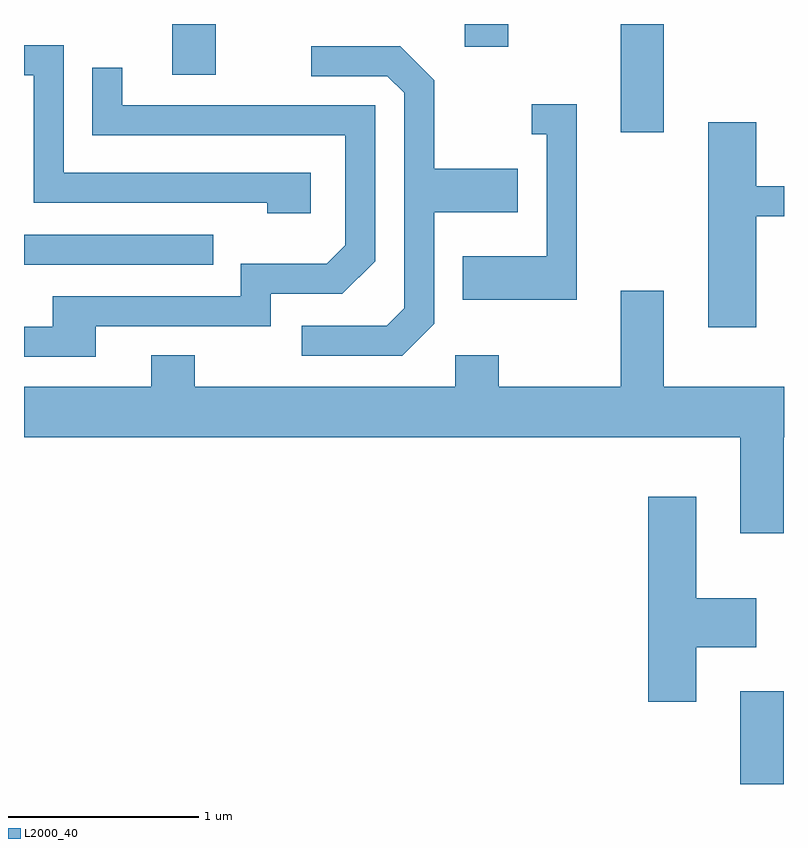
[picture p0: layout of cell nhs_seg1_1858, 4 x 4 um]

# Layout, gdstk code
import gdstk
lib = gdstk.Library(unit=1e-6, precision=1e-09)
def R(c, l, rs):  # rectangles x0, y0, x1, y1
    for r in rs: c.add(gdstk.rectangle(r[:2], r[2:], *l))
def P(c, l, *ps):  # polygons
    for p in ps: c.add(gdstk.Polygon(p, *l))
L2000_40 = (2000, 40)

nhs_seg1_1858 = lib.new_cell('nhs_seg1_1858')
R(nhs_seg1_1858, L2000_40, [(245.381,937.712,245.609,938.199), (241.611,940.446,242.608,940.604), (244.751,941.141,244.979,941.712), (242.391,941.446,242.619,941.712), (243.931,941.591,244.159,941.712)])
P(nhs_seg1_1858, L2000_40, [(243.119,940.929),(241.819,940.929),(241.819,941.599),(241.611,941.599),(241.611,941.441),(241.661,941.441),(241.661,940.771),(242.891,940.771),(242.891,940.716),(243.119,940.716)],
  [(243.769,940.134),(243.769,940.721),(244.209,940.721),(244.209,940.949),(243.769,940.949),(243.769,941.417),(243.592,941.594),(243.123,941.594),(243.123,941.436),(243.524,941.436),(243.611,941.349),(243.611,940.217),(243.519,940.124),(243.073,940.124),(243.073,939.966),(243.602,939.966)],
  [(241.989,940.121),(242.909,940.121),(242.909,940.291),(243.287,940.291),(243.459,940.464),(243.459,941.284),(242.129,941.284),(242.129,941.483),(241.971,941.483),(241.971,941.126),(243.301,941.126),(243.301,940.547),(243.204,940.449),(242.751,940.449),(242.751,940.279),(241.761,940.279),(241.761,940.119),(241.611,940.119),(241.611,939.961),(241.989,939.961)],
  [(244.519,941.289),(244.283,941.289),(244.283,941.131),(244.361,941.131),(244.361,940.489),(243.921,940.489),(243.921,940.261),(244.519,940.261)],
  [(245.464,940.701),(245.611,940.701),(245.611,940.859),(245.464,940.859),(245.464,941.194),(245.211,941.194),(245.211,940.116),(245.464,940.116)],
  [(245.609,939.536),(245.611,939.536),(245.611,939.804),(244.979,939.804),(244.979,940.309),(244.751,940.309),(244.751,939.804),(244.109,939.804),(244.109,939.969),(243.881,939.969),(243.881,939.804),(242.509,939.804),(242.509,939.969),(242.281,939.969),(242.281,939.804),(241.611,939.804),(241.611,939.536),(245.381,939.536),(245.381,939.031),(245.609,939.031)],
  [(245.149,938.431),(245.464,938.431),(245.464,938.689),(245.149,938.689),(245.149,939.224),(244.896,939.224),(244.896,938.146),(245.149,938.146)])

lib.write_gds('nhs_seg1_1858.gds')
